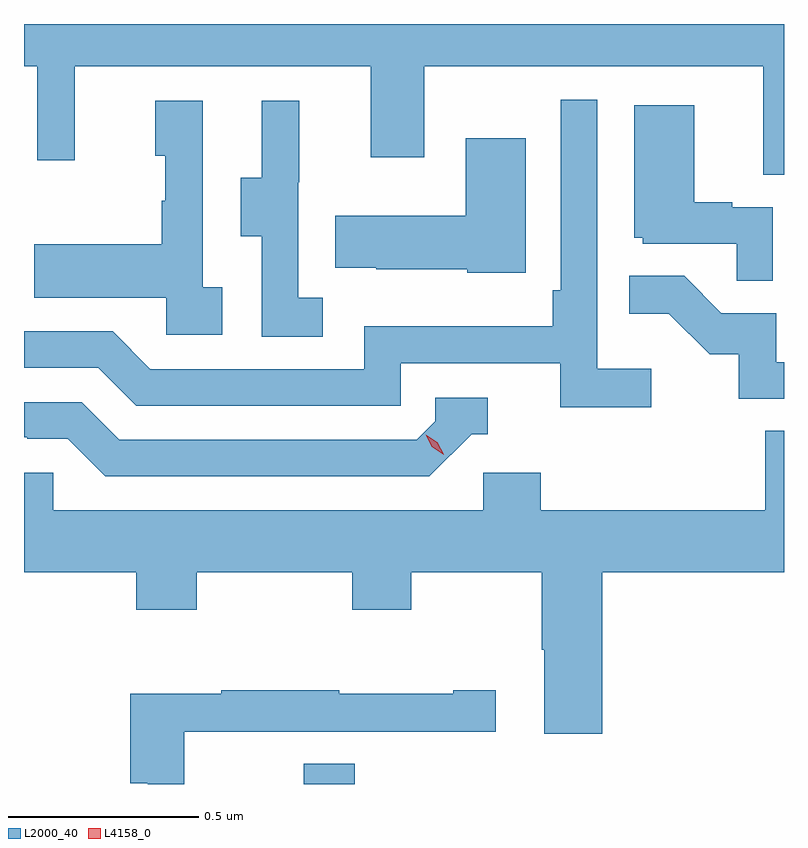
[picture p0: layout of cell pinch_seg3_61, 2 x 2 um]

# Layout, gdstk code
import gdstk
lib = gdstk.Library(unit=1e-6, precision=1e-09)
def R(c, l, rs):  # rectangles x0, y0, x1, y1
    for r in rs: c.add(gdstk.rectangle(r[:2], r[2:], *l))
def P(c, l, *ps):  # polygons
    for p in ps: c.add(gdstk.Polygon(p, *l))
L2000_40 = (2000, 40)
L4158_0 = (4158, 0)

pinch_seg3_61 = lib.new_cell('pinch_seg3_61')
R(pinch_seg3_61, L2000_40, [(1073.12,734.991,1073.254,735.044)])
P(pinch_seg3_61, L2000_40, [(1074.384,736.991),(1072.384,736.991),(1072.384,736.88),(1072.419,736.88),(1072.419,736.632),(1072.517,736.632),(1072.517,736.88),(1073.297,736.88),(1073.297,736.641),(1073.437,736.641),(1073.437,736.88),(1074.329,736.88),(1074.329,736.594),(1074.384,736.594)],
  [(1074.034,736.084),(1073.892,736.084),(1073.892,736.792),(1073.796,736.792),(1073.796,736.291),(1073.776,736.291),(1073.776,736.195),(1073.28,736.195),(1073.28,736.083),(1072.716,736.083),(1072.617,736.182),(1072.384,736.182),(1072.384,736.086),(1072.58,736.086),(1072.679,735.987),(1073.376,735.987),(1073.376,736.098),(1073.795,736.098),(1073.795,735.982),(1074.034,735.982)],
  [(1073.17,736.271),(1073.106,736.271),(1073.106,736.575),(1073.108,736.575),(1073.108,736.789),(1073.009,736.789),(1073.009,736.587),(1072.955,736.587),(1072.955,736.432),(1073.01,736.432),(1073.01,736.168),(1073.17,736.168)],
  [(1072.906,736.298),(1072.854,736.298),(1072.854,736.789),(1072.73,736.789),(1072.73,736.644),(1072.756,736.644),(1072.756,736.526),(1072.746,736.526),(1072.746,736.411),(1072.411,736.411),(1072.411,736.271),(1072.758,736.271),(1072.758,736.173),(1072.906,736.173)],
  [(1074.354,736.509),(1074.248,736.509),(1074.248,736.522),(1074.148,736.522),(1074.148,736.777),(1073.99,736.777),(1073.99,736.428),(1074.012,736.428),(1074.012,736.413),(1074.259,736.413),(1074.259,736.315),(1074.354,736.315)],
  [(1073.704,736.69),(1073.546,736.69),(1073.546,736.486),(1073.203,736.486),(1073.203,736.349),(1073.311,736.349),(1073.311,736.346),(1073.55,736.346),(1073.55,736.337),(1073.704,736.337)],
  [(1074.384,736.101),(1074.363,736.101),(1074.363,736.23),(1074.219,736.23),(1074.121,736.328),(1073.977,736.328),(1073.977,736.229),(1074.081,736.229),(1074.188,736.122),(1074.265,736.122),(1074.265,736.005),(1074.384,736.005)],
  [(1073.562,735.912),(1073.605,735.912),(1073.605,736.008),(1073.466,736.008),(1073.466,735.945),(1073.418,735.897),(1072.635,735.897),(1072.536,735.996),(1072.384,735.996),(1072.384,735.903),(1072.392,735.903),(1072.392,735.9),(1072.499,735.9),(1072.598,735.801),(1073.451,735.801)],
  [(1073.906,735.548),(1074.384,735.548),(1074.384,735.92),(1074.335,735.92),(1074.335,735.712),(1073.744,735.712),(1073.744,735.81),(1073.592,735.81),(1073.592,735.712),(1072.461,735.712),(1072.461,735.81),(1072.384,735.81),(1072.384,735.548),(1072.679,735.548),(1072.679,735.449),(1072.839,735.449),(1072.839,735.548),(1073.248,735.548),(1073.248,735.449),(1073.403,735.449),(1073.403,735.548),(1073.746,735.548),(1073.746,735.344),(1073.753,735.344),(1073.753,735.123),(1073.906,735.123)],
  [(1072.806,735.128),(1073.016,735.128),(1073.016,735.129),(1073.35,735.129),(1073.35,735.128),(1073.626,735.128),(1073.626,735.238),(1073.513,735.238),(1073.513,735.228),(1073.213,735.228),(1073.213,735.238),(1072.903,735.238),(1072.903,735.228),(1072.664,735.228),(1072.664,734.993),(1072.71,734.993),(1072.71,734.991),(1072.806,734.991)])
P(pinch_seg3_61, L4158_0, [(1073.489,735.858),(1073.457,735.878),(1073.441,735.91),(1073.441,735.91),(1073.441,735.91),(1073.472,735.891),(1073.489,735.859),(1073.489,735.858)])

lib.write_gds('pinch_seg3_61.gds')
